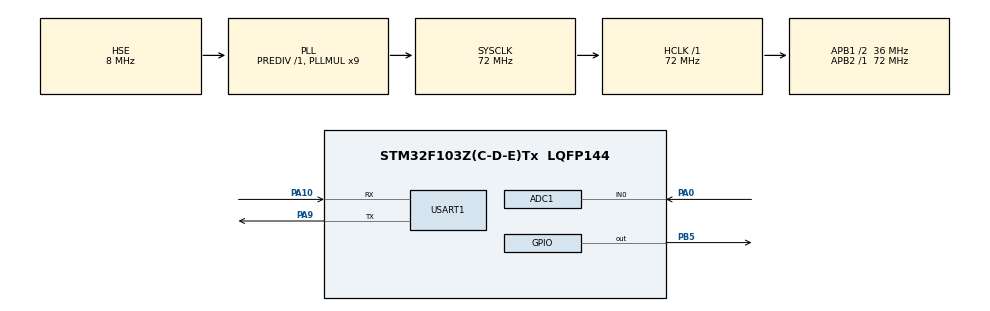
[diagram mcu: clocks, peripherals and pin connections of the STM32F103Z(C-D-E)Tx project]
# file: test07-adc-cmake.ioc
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ADC1.Channel-0\#ChannelRegularConversion=ADC_CHANNEL_0
ADC1.NbrOfConversionFlag=1
ADC1.Rank-0\#ChannelRegularConversion=1
ADC1.SamplingTime-0\#ChannelRegularConversion=ADC_SAMPLETIME_1CYCLE_5
ADC1.master=1
Mcu.Family=STM32F1
Mcu.Name=STM32F103Z(C-D-E)Tx
Mcu.Package=LQFP144
NVIC.ADC1_2_IRQn=true\:0\:0\:false\:false\:true\:true\:true
NVIC.PriorityGroup=NVIC_PRIORITYGROUP_4
OSC_IN.Mode=HSE-External-Oscillator
OSC_IN.Signal=RCC_OSC_IN
OSC_OUT.Mode=HSE-External-Oscillator
OSC_OUT.Signal=RCC_OSC_OUT
PA0-WKUP.Signal=ADCx_IN0
PA10.Mode=Asynchronous
PA10.Signal=USART1_RX
PA13.Mode=Serial_Wire
PA13.Signal=SYS_JTMS-SWDIO
PA14.Mode=Serial_Wire
PA14.Signal=SYS_JTCK-SWCLK
PA9.Mode=Asynchronous
PA9.Signal=USART1_TX
PB5.Signal=GPIO_Output
ProjectManager.HeapSize=0x200
ProjectManager.StackSize=0x400
ProjectManager.TargetToolchain=STM32CubeIDE
RCC.ADCPresc=RCC_ADCPCLK2_DIV6
RCC.AHBFreq_Value=72000000
RCC.APB1CLKDivider=RCC_HCLK_DIV2
RCC.APB1Freq_Value=36000000
RCC.APB1TimFreq_Value=72000000
RCC.APB2Freq_Value=72000000
RCC.APB2TimFreq_Value=72000000
RCC.HCLKFreq_Value=72000000
RCC.PLLMUL=RCC_PLL_MUL9
RCC.PLLSourceVirtual=RCC_PLLSOURCE_HSE
RCC.SYSCLKFreq_VALUE=72000000
RCC.SYSCLKSource=RCC_SYSCLKSOURCE_PLLCLK
RCC.USBFreq_Value=72000000
SH.ADCx_IN0.0=ADC1_IN0,IN0
USART1.VirtualMode=VM_ASYNC
board=custom

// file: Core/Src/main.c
/* USER CODE BEGIN Header */
/**
  ******************************************************************************
  * @file           : main.c
  * @brief          : Main program body
  ******************************************************************************
  * @attention
  *
  * <h2><center>&copy; Copyright (c) 2021 STMicroelectronics.
  * All rights reserved.</center></h2>
  *
  * This software component is licensed by ST under BSD 3-Clause license,
  * the "License"; You may not use this file except in compliance with the
  * License. You may obtain a copy of the License at:
  *                        opensource.org/licenses/BSD-3-Clause
  *
  ******************************************************************************
  */
/* USER CODE END Header */
#include "main.h"
#include "adc.h"
#include "usart.h"
#include "gpio.h"

/* USER CODE BEGIN Includes */
#include "stdio.h"
/* USER CODE END Includes */

/* USER CODE BEGIN PM */
#define LED1_ON() HAL_GPIO_WritePin(GPIOB, GPIO_PIN_5, GPIO_PIN_RESET);
#define LED1_OFF() HAL_GPIO_WritePin(GPIOB, GPIO_PIN_5, GPIO_PIN_SET);
/* USER CODE END PM */

/* USER CODE BEGIN PV */
uint16_t ADC_Value = 0, ADC_Volt = 0;
uint8_t str_buff[64];

void UR1_send_Info()
{
    sprintf((char *) str_buff, "采样值：%d, 电压值：%d.%d%dV\r\n", ADC_Value, ADC_Volt / 100, (ADC_Volt % 100) / 10,
            ADC_Volt % 10);
    HAL_UART_Transmit(&huart1, str_buff, sizeof str_buff, 10000);
}

void HAL_ADC_ConvCpltCallback(ADC_HandleTypeDef *hadc)
{
    if (hadc->Instance == ADC1)
    {
        ADC_Value = HAL_ADC_GetValue(&hadc1);
        ADC_Volt = ADC_Value * 330 / 4096;
        UR1_send_Info();
        LED1_OFF();
    }
}

//void ADC0_Get_Value()
//{
//    HAL_ADC_Start(&hadc1);
//    LED1_ON();
//    if (HAL_ADC_PollForConversion(&hadc1, 10) == HAL_OK)
//    {
//        ADC_Value = HAL_ADC_GetValue(&hadc1);
//        ADC_Volt = ADC_Value * 330 / 4096;
//    }
//    UR1_send_Info();
//    LED1_OFF();
//    HAL_ADC_Stop(&hadc1);
//}
/* USER CODE END PV */

void SystemClock_Config(void);

int main(void)
{

    /* MCU Configuration--------------------------------------------------------*/

    /* Reset of all peripherals, Initializes the Flash interface and the Systick. */
    HAL_Init();

    /* Configure the system clock */
    SystemClock_Config();

    /* Initialize all configured peripherals */
    MX_GPIO_Init();
    MX_ADC1_Init();
    MX_USART1_UART_Init();

    /* Infinite loop */
    while (1)
    {
//      ADC0_Get_Value();
        LED1_ON();
        HAL_ADC_Start_IT(&hadc1);
        HAL_Delay(500);
    }
}

void SystemClock_Config(void)
{
    RCC_OscInitTypeDef RCC_OscInitStruct = {0};
    RCC_ClkInitTypeDef RCC_ClkInitStruct = {0};
    RCC_PeriphCLKInitTypeDef PeriphClkInit = {0};

    /** Initializes the RCC Oscillators according to the specified parameters
    * in the RCC_OscInitTypeDef structure.
    */
    RCC_OscInitStruct.OscillatorType = RCC_OSCILLATORTYPE_HSE;
    RCC_OscInitStruct.HSEState = RCC_HSE_ON;
    RCC_OscInitStruct.HSEPredivValue = RCC_HSE_PREDIV_DIV1;
    RCC_OscInitStruct.HSIState = RCC_HSI_ON;
    RCC_OscInitStruct.PLL.PLLState = RCC_PLL_ON;
    RCC_OscInitStruct.PLL.PLLSource = RCC_PLLSOURCE_HSE;
    RCC_OscInitStruct.PLL.PLLMUL = RCC_PLL_MUL9;
    if (HAL_RCC_OscConfig(&RCC_OscInitStruct) != HAL_OK)
    {
        Error_Handler();
    }
    /** Initializes the CPU, AHB and APB buses clocks
    */
    RCC_ClkInitStruct.ClockType = RCC_CLOCKTYPE_HCLK | RCC_CLOCKTYPE_SYSCLK
                                  | RCC_CLOCKTYPE_PCLK1 | RCC_CLOCKTYPE_PCLK2;
    RCC_ClkInitStruct.SYSCLKSource = RCC_SYSCLKSOURCE_PLLCLK;
    RCC_ClkInitStruct.AHBCLKDivider = RCC_SYSCLK_DIV1;
    RCC_ClkInitStruct.APB1CLKDivider = RCC_HCLK_DIV2;
    RCC_ClkInitStruct.APB2CLKDivider = RCC_HCLK_DIV1;

    if (HAL_RCC_ClockConfig(&RCC_ClkInitStruct, FLASH_LATENCY_2) != HAL_OK)
    {
        Error_Handler();
    }
    PeriphClkInit.PeriphClockSelection = RCC_PERIPHCLK_ADC;
    PeriphClkInit.AdcClockSelection = RCC_ADCPCLK2_DIV6;
    if (HAL_RCCEx_PeriphCLKConfig(&PeriphClkInit) != HAL_OK)
    {
        Error_Handler();
    }
}

void Error_Handler(void)
{
    __disable_irq();
    while (1)
    {
    }
}

/************************ (C) COPYRIGHT STMicroelectronics *****END OF FILE****/
